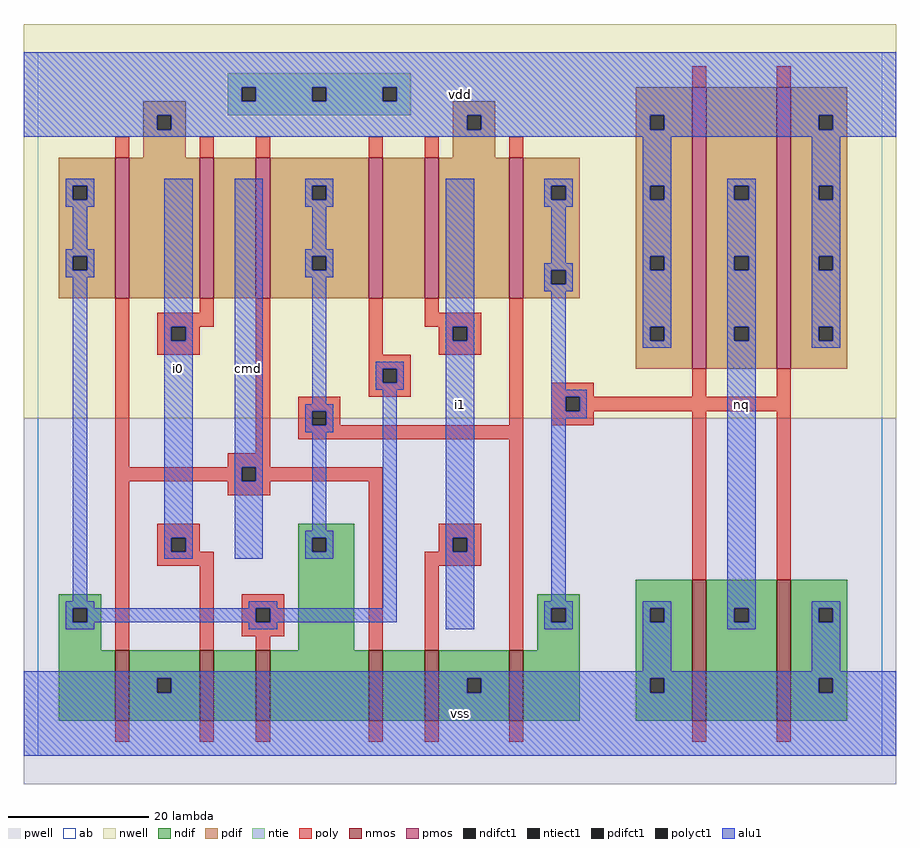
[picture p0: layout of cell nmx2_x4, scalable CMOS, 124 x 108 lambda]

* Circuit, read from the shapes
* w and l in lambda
.subckt nmx2_x4 cmd i0 i1 nq vdd vss
M1 vss cmd n1 VSUBS nfet w=10 l=2
M2 n2 i0 vss VSUBS nfet w=10 l=2
M3 n3 n1 n2 VSUBS nfet w=10 l=2
M4 n4 cmd n3 VSUBS nfet w=10 l=2
M5 vss i1 n4 VSUBS nfet w=10 l=2
M6 n5 n3 vss VSUBS nfet w=10 l=2
M7 nq n5 vss VSUBS nfet w=20 l=2 m=2
M8 vdd cmd n1 vdd pfet w=20 l=2
M9 n6 i0 vdd vdd pfet w=20 l=2
M10 n3 cmd n6 vdd pfet w=20 l=2
M11 n7 n1 n3 vdd pfet w=20 l=2
M12 vdd i1 n7 vdd pfet w=20 l=2
M13 n5 n3 vdd vdd pfet w=20 l=2
M14 nq n5 vdd vdd pfet w=40 l=2 m=2
.ends

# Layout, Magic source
magic
tech scmos
<< ab >>
rect 0 0 120 100
<< nwell >>
rect -2 48 122 104
<< pwell >>
rect -2 -4 122 48
<< poly >>
rect 93 95 95 98
rect 105 95 107 98
rect 11 85 13 88
rect 23 85 25 88
rect 31 85 33 88
rect 47 85 49 88
rect 55 85 57 88
rect 67 85 69 88
rect 11 41 13 65
rect 23 63 25 65
rect 17 61 25 63
rect 17 59 19 61
rect 21 59 23 61
rect 17 57 23 59
rect 31 43 33 65
rect 47 57 49 65
rect 55 63 57 65
rect 55 61 63 63
rect 57 59 59 61
rect 61 59 63 61
rect 57 57 63 59
rect 47 55 53 57
rect 47 53 49 55
rect 51 53 53 55
rect 47 51 53 53
rect 37 49 43 51
rect 37 47 39 49
rect 41 47 43 49
rect 67 47 69 65
rect 73 51 79 53
rect 93 51 95 55
rect 105 51 107 55
rect 73 49 75 51
rect 77 49 107 51
rect 73 47 79 49
rect 37 45 69 47
rect 27 41 33 43
rect 11 39 29 41
rect 31 39 49 41
rect 11 15 13 39
rect 27 37 33 39
rect 17 31 23 33
rect 17 29 19 31
rect 21 29 23 31
rect 17 27 25 29
rect 23 15 25 27
rect 29 21 35 23
rect 29 19 31 21
rect 33 19 35 21
rect 29 17 35 19
rect 31 15 33 17
rect 47 15 49 39
rect 57 31 63 33
rect 57 29 59 31
rect 61 29 63 31
rect 55 27 63 29
rect 55 15 57 27
rect 67 15 69 45
rect 93 25 95 49
rect 105 25 107 49
rect 11 2 13 5
rect 23 2 25 5
rect 31 2 33 5
rect 47 2 49 5
rect 55 2 57 5
rect 67 2 69 5
rect 93 2 95 5
rect 105 2 107 5
<< ndif >>
rect 3 21 9 23
rect 3 19 5 21
rect 7 19 9 21
rect 3 15 9 19
rect 37 31 45 33
rect 37 29 39 31
rect 41 29 45 31
rect 37 15 45 29
rect 71 21 77 23
rect 71 19 73 21
rect 75 19 77 21
rect 71 15 77 19
rect 3 5 11 15
rect 13 11 23 15
rect 13 9 17 11
rect 19 9 23 11
rect 13 5 23 9
rect 25 5 31 15
rect 33 5 47 15
rect 49 5 55 15
rect 57 11 67 15
rect 57 9 61 11
rect 63 9 67 11
rect 57 5 67 9
rect 69 5 77 15
rect 85 21 93 25
rect 85 19 87 21
rect 89 19 93 21
rect 85 11 93 19
rect 85 9 87 11
rect 89 9 93 11
rect 85 5 93 9
rect 95 21 105 25
rect 95 19 99 21
rect 101 19 105 21
rect 95 5 105 19
rect 107 21 115 25
rect 107 19 111 21
rect 113 19 115 21
rect 107 11 115 19
rect 107 9 111 11
rect 113 9 115 11
rect 107 5 115 9
<< pdif >>
rect 15 91 21 93
rect 59 91 65 93
rect 15 89 17 91
rect 19 89 21 91
rect 15 85 21 89
rect 59 89 61 91
rect 63 89 65 91
rect 59 85 65 89
rect 85 91 93 95
rect 85 89 87 91
rect 89 89 93 91
rect 3 81 11 85
rect 3 79 5 81
rect 7 79 11 81
rect 3 71 11 79
rect 3 69 5 71
rect 7 69 11 71
rect 3 65 11 69
rect 13 65 23 85
rect 25 65 31 85
rect 33 81 47 85
rect 33 79 39 81
rect 41 79 47 81
rect 33 71 47 79
rect 33 69 39 71
rect 41 69 47 71
rect 33 65 47 69
rect 49 65 55 85
rect 57 65 67 85
rect 69 81 77 85
rect 69 79 73 81
rect 75 79 77 81
rect 69 69 77 79
rect 69 67 73 69
rect 75 67 77 69
rect 69 65 77 67
rect 85 81 93 89
rect 85 79 87 81
rect 89 79 93 81
rect 85 71 93 79
rect 85 69 87 71
rect 89 69 93 71
rect 85 61 93 69
rect 85 59 87 61
rect 89 59 93 61
rect 85 55 93 59
rect 95 81 105 95
rect 95 79 99 81
rect 101 79 105 81
rect 95 71 105 79
rect 95 69 99 71
rect 101 69 105 71
rect 95 61 105 69
rect 95 59 99 61
rect 101 59 105 61
rect 95 55 105 59
rect 107 91 115 95
rect 107 89 111 91
rect 113 89 115 91
rect 107 81 115 89
rect 107 79 111 81
rect 113 79 115 81
rect 107 71 115 79
rect 107 69 111 71
rect 113 69 115 71
rect 107 61 115 69
rect 107 59 111 61
rect 113 59 115 61
rect 107 55 115 59
<< alu1 >>
rect -2 95 122 100
rect -2 93 29 95
rect 31 93 39 95
rect 41 93 49 95
rect 51 93 122 95
rect -2 91 122 93
rect -2 89 17 91
rect 19 89 61 91
rect 63 89 87 91
rect 89 89 111 91
rect 113 89 122 91
rect -2 88 122 89
rect 4 81 8 82
rect 4 79 5 81
rect 7 79 8 81
rect 4 78 8 79
rect 5 72 7 78
rect 4 71 8 72
rect 4 69 5 71
rect 7 69 8 71
rect 4 68 8 69
rect 5 22 7 68
rect 18 61 22 82
rect 18 59 19 61
rect 21 59 22 61
rect 18 31 22 59
rect 18 29 19 31
rect 21 29 22 31
rect 18 28 22 29
rect 28 41 32 82
rect 38 81 42 82
rect 38 79 39 81
rect 41 79 42 81
rect 38 78 42 79
rect 39 72 41 78
rect 38 71 42 72
rect 38 69 39 71
rect 41 69 42 71
rect 38 68 42 69
rect 39 50 41 68
rect 58 61 62 82
rect 72 81 76 82
rect 72 79 73 81
rect 75 79 76 81
rect 72 78 76 79
rect 86 81 90 88
rect 86 79 87 81
rect 89 79 90 81
rect 73 70 75 78
rect 86 71 90 79
rect 72 69 76 70
rect 72 67 73 69
rect 75 67 76 69
rect 72 66 76 67
rect 86 69 87 71
rect 89 69 90 71
rect 58 59 59 61
rect 61 59 62 61
rect 48 55 52 56
rect 48 53 49 55
rect 51 53 52 55
rect 48 52 52 53
rect 38 49 42 50
rect 38 47 39 49
rect 41 47 42 49
rect 38 46 42 47
rect 28 39 29 41
rect 31 39 32 41
rect 28 28 32 39
rect 39 32 41 46
rect 38 31 42 32
rect 38 29 39 31
rect 41 29 42 31
rect 38 28 42 29
rect 4 21 8 22
rect 30 21 34 22
rect 49 21 51 52
rect 4 19 5 21
rect 7 19 31 21
rect 33 19 51 21
rect 58 31 62 59
rect 58 29 59 31
rect 61 29 62 31
rect 4 18 8 19
rect 30 18 34 19
rect 58 18 62 29
rect 73 52 75 66
rect 86 61 90 69
rect 86 59 87 61
rect 89 59 90 61
rect 86 58 90 59
rect 98 81 102 82
rect 98 79 99 81
rect 101 79 102 81
rect 98 71 102 79
rect 98 69 99 71
rect 101 69 102 71
rect 98 61 102 69
rect 98 59 99 61
rect 101 59 102 61
rect 73 51 78 52
rect 73 49 75 51
rect 77 49 78 51
rect 73 48 78 49
rect 73 22 75 48
rect 72 21 76 22
rect 72 19 73 21
rect 75 19 76 21
rect 72 18 76 19
rect 86 21 90 22
rect 86 19 87 21
rect 89 19 90 21
rect 86 12 90 19
rect 98 21 102 59
rect 110 81 114 88
rect 110 79 111 81
rect 113 79 114 81
rect 110 71 114 79
rect 110 69 111 71
rect 113 69 114 71
rect 110 61 114 69
rect 110 59 111 61
rect 113 59 114 61
rect 110 58 114 59
rect 98 19 99 21
rect 101 19 102 21
rect 98 18 102 19
rect 110 21 114 22
rect 110 19 111 21
rect 113 19 114 21
rect 110 12 114 19
rect -2 11 122 12
rect -2 9 17 11
rect 19 9 61 11
rect 63 9 87 11
rect 89 9 111 11
rect 113 9 122 11
rect -2 0 122 9
<< ntie >>
rect 27 95 53 97
rect 27 93 29 95
rect 31 93 39 95
rect 41 93 49 95
rect 51 93 53 95
rect 27 91 53 93
<< nmos >>
rect 11 5 13 15
rect 23 5 25 15
rect 31 5 33 15
rect 47 5 49 15
rect 55 5 57 15
rect 67 5 69 15
rect 93 5 95 25
rect 105 5 107 25
<< pmos >>
rect 11 65 13 85
rect 23 65 25 85
rect 31 65 33 85
rect 47 65 49 85
rect 55 65 57 85
rect 67 65 69 85
rect 93 55 95 95
rect 105 55 107 95
<< polyct1 >>
rect 19 59 21 61
rect 59 59 61 61
rect 49 53 51 55
rect 39 47 41 49
rect 75 49 77 51
rect 29 39 31 41
rect 19 29 21 31
rect 31 19 33 21
rect 59 29 61 31
<< ndifct1 >>
rect 5 19 7 21
rect 39 29 41 31
rect 73 19 75 21
rect 17 9 19 11
rect 61 9 63 11
rect 87 19 89 21
rect 87 9 89 11
rect 99 19 101 21
rect 111 19 113 21
rect 111 9 113 11
<< ntiect1 >>
rect 29 93 31 95
rect 39 93 41 95
rect 49 93 51 95
<< pdifct1 >>
rect 17 89 19 91
rect 61 89 63 91
rect 87 89 89 91
rect 5 79 7 81
rect 5 69 7 71
rect 39 79 41 81
rect 39 69 41 71
rect 73 79 75 81
rect 73 67 75 69
rect 87 79 89 81
rect 87 69 89 71
rect 87 59 89 61
rect 99 79 101 81
rect 99 69 101 71
rect 99 59 101 61
rect 111 89 113 91
rect 111 79 113 81
rect 111 69 113 71
rect 111 59 113 61
<< labels >>
rlabel alu1 20 55 20 55 6 i0
rlabel alu1 30 55 30 55 6 cmd
rlabel alu1 60 6 60 6 6 vss
rlabel alu1 60 50 60 50 6 i1
rlabel alu1 60 94 60 94 6 vdd
rlabel alu1 100 50 100 50 6 nq
<< end >>
